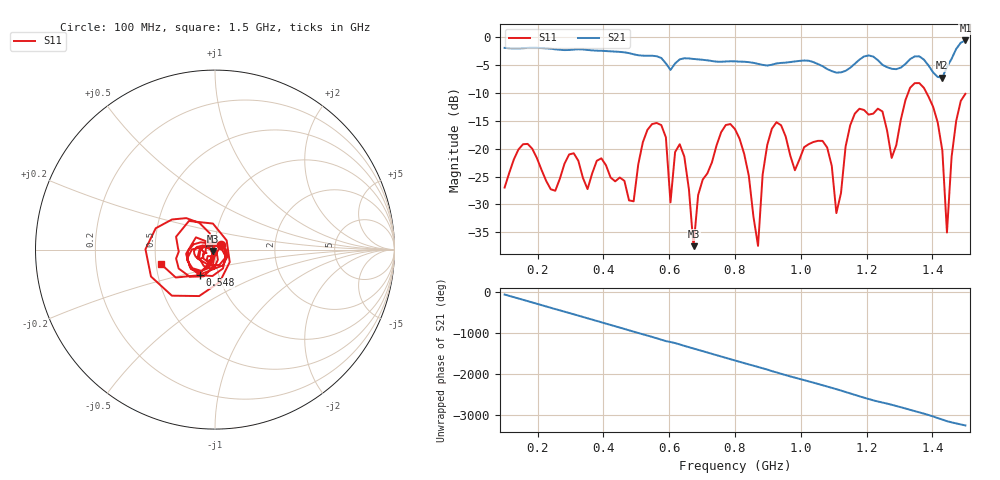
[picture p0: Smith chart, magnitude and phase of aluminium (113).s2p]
! NanoVNA-App
! Date: 2025-09-26 09:58:56
! Start: 100MHz Stop: 1,5GHz Points: 101
! S-Parameter data: F S11 S21 S12 S22
# Hz S RI R 50
!  Frequency  S11_Real  S11_Imag  S21_Real  S21_Imag  S12_Real  S12_Imag  S22_Real  S22_Imag
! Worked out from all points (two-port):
!   101 points, 100 MHz to 1.5 GHz, reference 50 ohm
!   highest |S21| = -0.59 dB at 1.5 GHz (marker M1); lowest = -7.2 dB at 1.43 GHz (marker M2)
!   |S21| within 3 dB of the highest: start of sweep to 569.6 MHz; 1.189 GHz to 1.222 GHz (33.31 MHz wide, 2.76 % of centre)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
!   lowest |S11| = -37.5 dB at 674 MHz (marker M3), VSWR 1.03, Z = 48.9 - j0.788 ohm
!   |S11| at or under -10 dB: start of sweep to 1.326 GHz; 1.382 GHz to end of sweep
!   S12 and S22 are empty: the file has one direction only
!   S11 on the Smith chart (normalised r, x): 100 MHz: 1.07, +0.06; 548 MHz: 0.81, -0.24; 1.5 GHz: 0.53, -0.10
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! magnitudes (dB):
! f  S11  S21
! 100 MHz  -27.0  -1.9
! 156 MHz  -19.2  -2.0
! 338 MHz  -25.3  -2.2
! 492 MHz  -29.4  -3.1
! 548 MHz  -15.6  -3.3
! 576 MHz  -15.8  -3.7
! 604 MHz  -29.6  -5.9
! 646 MHz  -21.4  -3.8
! 674 MHz  -37.5  -3.9
! 702 MHz  -25.5  -4.1
! 800 MHz  -16.5  -4.3
! 870 MHz  -37.4  -4.8
! 912 MHz  -16.4  -4.9
! 1.038 GHz  -18.8  -4.5
! 1.108 GHz  -31.6  -6.4
! 1.178 GHz  -12.8  -4.0
! 1.276 GHz  -21.7  -5.7
! 1.346 GHz  -8.2  -3.5
! 1.43 GHz  -20.4  -7.2
! 1.444 GHz  -35.0  -5.3
! 1.472 GHz  -15.0  -2.1
! 1.5 GHz  -10.2  -0.6
